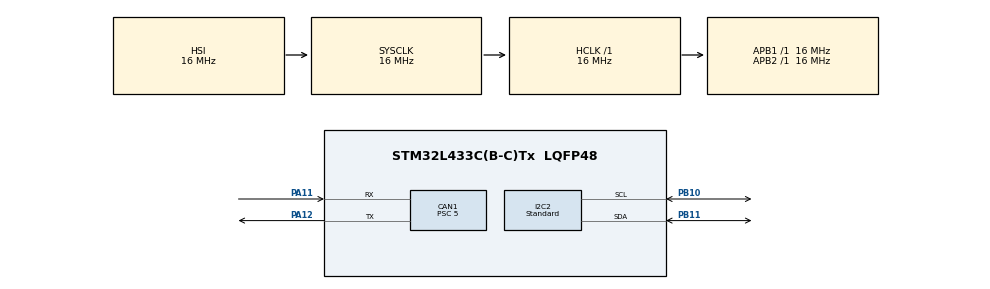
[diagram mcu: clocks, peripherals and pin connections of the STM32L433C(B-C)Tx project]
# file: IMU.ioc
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CAN1.BS1=CAN_BS1_13TQ
CAN1.BS2=CAN_BS2_2TQ
CAN1.CalculateBaudRate=200000
CAN1.CalculateTimeBit=5000
CAN1.CalculateTimeQuantum=312.5
CAN1.Prescaler=5
I2C2.CustomTiming=Disabled
I2C2.I2C_Fall_Time=0
I2C2.I2C_Rise_Time=0
I2C2.I2C_Speed_Mode=I2C_Standard
I2C2.Timing=0x00303D5B
Mcu.Family=STM32L4
Mcu.Name=STM32L433C(B-C)Tx
Mcu.Package=LQFP48
NVIC.PriorityGroup=NVIC_PRIORITYGROUP_4
PA11.Mode=CAN_Activate
PA11.Signal=CAN1_RX
PA12.Mode=CAN_Activate
PA12.Signal=CAN1_TX
PA13\ (JTMS-SWDIO).Mode=Serial_Wire
PA13\ (JTMS-SWDIO).Signal=SYS_JTMS-SWDIO
PA14\ (JTCK-SWCLK).Mode=Serial_Wire
PA14\ (JTCK-SWCLK).Signal=SYS_JTCK-SWCLK
PB10.GPIO_Pu=GPIO_NOPULL
PB10.GPIO_Speed=GPIO_SPEED_FREQ_LOW
PB10.Mode=I2C
PB10.Signal=I2C2_SCL
PB11.GPIO_Pu=GPIO_NOPULL
PB11.GPIO_Speed=GPIO_SPEED_FREQ_LOW
PB11.Mode=I2C
PB11.Signal=I2C2_SDA
PB3\ (JTDO-TRACESWO).Signal=SYS_JTDO-SWO
PH0-OSC_IN\ (PH0).Mode=HSE-External-Oscillator
PH0-OSC_IN\ (PH0).Signal=RCC_OSC_IN
PH1-OSC_OUT\ (PH1).Mode=HSE-External-Oscillator
PH1-OSC_OUT\ (PH1).Signal=RCC_OSC_OUT
ProjectManager.HeapSize=0x200
ProjectManager.StackSize=0x400
ProjectManager.TargetToolchain=STM32CubeIDE
RCC.ADCFreq_Value=16000000
RCC.AHBFreq_Value=16000000
RCC.APB1Freq_Value=16000000
RCC.APB1TimFreq_Value=16000000
RCC.APB2Freq_Value=16000000
RCC.APB2TimFreq_Value=16000000
RCC.CortexFreq_Value=16000000
RCC.HCLKFreq_Value=16000000
RCC.HSE_VALUE=12000000
RCC.HSI48_VALUE=48000000
RCC.HSI_VALUE=16000000
RCC.LSE_VALUE=32768
RCC.MSI_VALUE=4000000
RCC.PLLM=3
RCC.PLLN=40
RCC.PLLSourceVirtual=RCC_PLLSOURCE_HSE
RCC.SYSCLKFreq_VALUE=16000000
RCC.SYSCLKSource=RCC_SYSCLKSOURCE_HSI
RCC.USBFreq_Value=16000000
RCC.VCOOutputFreq_Value=160000000
board=custom

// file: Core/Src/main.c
/* USER CODE BEGIN Header */
/**
  ******************************************************************************
  * @file           : main.c
  * @brief          : Main program body
  ******************************************************************************
  * @attention
  *
  * Copyright (c) 2024 STMicroelectronics.
  * All rights reserved.
  *
  * This software is licensed under terms that can be found in the LICENSE file
  * in the root directory of this software component.
  * If no LICENSE file comes with this software, it is provided AS-IS.
  *
  ******************************************************************************
  */
/* USER CODE END Header */
#include "main.h"

/* USER CODE BEGIN Includes */
#include "imu.h"
/* USER CODE END Includes */

/* USER CODE BEGIN PD */
#define POLLING_RATE 1000
#define CANARY_ID 0x00
/* USER CODE END PD */

CAN_HandleTypeDef hcan1;

I2C_HandleTypeDef hi2c2;

/* USER CODE BEGIN PV */
IMU sensor;
/* USER CODE END PV */

void SystemClock_Config(void);
static void MX_GPIO_Init(void);
static void MX_I2C2_Init(void);
static void MX_CAN1_Init(void);

/* USER CODE BEGIN 0 */
CAN_TxHeaderTypeDef TxHeader;
CAN_RxHeaderTypeDef RxHeader;

uint8_t TxData[8];
uint8_t RxData[8];
uint32_t TxMailbox;

/* USER CODE END 0 */

int main(void)
{

  /* MCU Configuration--------------------------------------------------------*/

  /* Reset of all peripherals, Initializes the Flash interface and the Systick. */
  HAL_Init();

  /* Configure the system clock */
  SystemClock_Config();

  /* Initialize all configured peripherals */
  MX_GPIO_Init();
  MX_I2C2_Init();
  MX_CAN1_Init();
  /* USER CODE BEGIN 2 */

  IMU_Initialize( &sensor, &hi2c2);
  HAL_CAN_Start(&hcan1);

  HAL_CAN_ActivateNotification(&hcan1, CAN_IT_RX_FIFO0_MSG_PENDING);

  TxHeader.IDE = CAN_ID_STD; //Standard ID, EXT for extended?
  TxHeader.DLC = 8;
  TxHeader.StdId = 0x100; //change?
  TxHeader.RTR = CAN_RTR_DATA;

  /* USER CODE END 2 */

  /* Infinite loop */
  /* USER CODE BEGIN WHILE */
  while (1)
  {
	// get data from IMU
	IMU_ReadAccelerometer( &sensor );
	IMU_ReadGyroscope( &sensor );
	IMU_ReadTemperature( &sensor );
	IMU_ReadMagnetometer( &sensor );

	for (int i = 0; i<6; i++){
		TxData[i] = sensor.acc[i];
	}

	TxData[6] = sensor.temp;
	TxData[7] = 0;
	TxHeader.StdId = 0x100;
	HAL_CAN_AddTxMessage(&hcan1, &TxHeader, TxData, &TxMailbox); //acceleration data and temperature

	for (int i = 0; i<6; i++){
		TxData[i] = sensor.gyr[i];
	}
	TxData[6] = 0;
	TxData[7] = 0;
	TxHeader.StdId = 0x101;
	HAL_CAN_AddTxMessage(&hcan1, &TxHeader, TxData, &TxMailbox); //gyroscope data

	for (int i = 0; i<6; i++){
		TxData[i] = sensor.mag[i];
	}
	TxData[6] = 0;
	TxData[7] = 0;
	TxHeader.StdId = 0x102;
	HAL_CAN_AddTxMessage(&hcan1, &TxHeader, TxData, &TxMailbox); //magnetometer data

	HAL_Delay((float)1000/(float)POLLING_RATE);

    /* USER CODE END WHILE */

  }
}

void SystemClock_Config(void)
{
  RCC_OscInitTypeDef RCC_OscInitStruct = {0};
  RCC_ClkInitTypeDef RCC_ClkInitStruct = {0};

  /** Configure the main internal regulator output voltage
  */
  if (HAL_PWREx_ControlVoltageScaling(PWR_REGULATOR_VOLTAGE_SCALE1) != HAL_OK)
  {
    Error_Handler();
  }

  /** Initializes the RCC Oscillators according to the specified parameters
  * in the RCC_OscInitTypeDef structure.
  */
  RCC_OscInitStruct.OscillatorType = RCC_OSCILLATORTYPE_HSI;
  RCC_OscInitStruct.HSIState = RCC_HSI_ON;
  RCC_OscInitStruct.HSICalibrationValue = RCC_HSICALIBRATION_DEFAULT;
  RCC_OscInitStruct.PLL.PLLState = RCC_PLL_NONE;
  if (HAL_RCC_OscConfig(&RCC_OscInitStruct) != HAL_OK)
  {
    Error_Handler();
  }

  /** Initializes the CPU, AHB and APB buses clocks
  */
  RCC_ClkInitStruct.ClockType = RCC_CLOCKTYPE_HCLK|RCC_CLOCKTYPE_SYSCLK
                              |RCC_CLOCKTYPE_PCLK1|RCC_CLOCKTYPE_PCLK2;
  RCC_ClkInitStruct.SYSCLKSource = RCC_SYSCLKSOURCE_HSI;
  RCC_ClkInitStruct.AHBCLKDivider = RCC_SYSCLK_DIV1;
  RCC_ClkInitStruct.APB1CLKDivider = RCC_HCLK_DIV1;
  RCC_ClkInitStruct.APB2CLKDivider = RCC_HCLK_DIV1;

  if (HAL_RCC_ClockConfig(&RCC_ClkInitStruct, FLASH_LATENCY_0) != HAL_OK)
  {
    Error_Handler();
  }
}

static void MX_CAN1_Init(void)
{

  hcan1.Instance = CAN1;
  hcan1.Init.Prescaler = 5;
  hcan1.Init.Mode = CAN_MODE_NORMAL;
  hcan1.Init.SyncJumpWidth = CAN_SJW_1TQ;
  hcan1.Init.TimeSeg1 = CAN_BS1_13TQ;
  hcan1.Init.TimeSeg2 = CAN_BS2_2TQ;
  hcan1.Init.TimeTriggeredMode = DISABLE;
  hcan1.Init.AutoBusOff = DISABLE;
  hcan1.Init.AutoWakeUp = DISABLE;
  hcan1.Init.AutoRetransmission = DISABLE;
  hcan1.Init.ReceiveFifoLocked = DISABLE;
  hcan1.Init.TransmitFifoPriority = DISABLE;
  if (HAL_CAN_Init(&hcan1) != HAL_OK)
  {
    Error_Handler();
  }
  /* USER CODE BEGIN CAN1_Init 2 */

  CAN_FilterTypeDef canfilterconfig;

  canfilterconfig.FilterActivation = CAN_FILTER_ENABLE;
  canfilterconfig.FilterBank = 0;
  canfilterconfig.FilterFIFOAssignment = CAN_FILTER_FIFO0;
  canfilterconfig.FilterIdHigh = CANARY_ID;
  canfilterconfig.FilterMaskIdHigh = 0xFFFFFFFF;

  HAL_CAN_ConfigFilter(&hcan1, &canfilterconfig);

  /* USER CODE END CAN1_Init 2 */

}

static void MX_I2C2_Init(void)
{

  hi2c2.Instance = I2C2;
  hi2c2.Init.Timing = 0x00303D5B;
  hi2c2.Init.OwnAddress1 = 0;
  hi2c2.Init.AddressingMode = I2C_ADDRESSINGMODE_7BIT;
  hi2c2.Init.DualAddressMode = I2C_DUALADDRESS_DISABLE;
  hi2c2.Init.OwnAddress2 = 0;
  hi2c2.Init.OwnAddress2Masks = I2C_OA2_NOMASK;
  hi2c2.Init.GeneralCallMode = I2C_GENERALCALL_DISABLE;
  hi2c2.Init.NoStretchMode = I2C_NOSTRETCH_DISABLE;
  if (HAL_I2C_Init(&hi2c2) != HAL_OK)
  {
    Error_Handler();
  }

  /** Configure Analogue filter
  */
  if (HAL_I2CEx_ConfigAnalogFilter(&hi2c2, I2C_ANALOGFILTER_ENABLE) != HAL_OK)
  {
    Error_Handler();
  }

  /** Configure Digital filter
  */
  if (HAL_I2CEx_ConfigDigitalFilter(&hi2c2, 0) != HAL_OK)
  {
    Error_Handler();
  }

}

static void MX_GPIO_Init(void)
{

  /* GPIO Ports Clock Enable */
  __HAL_RCC_GPIOH_CLK_ENABLE();
  __HAL_RCC_GPIOB_CLK_ENABLE();
  __HAL_RCC_GPIOA_CLK_ENABLE();

}

void Error_Handler(void)
{
  __disable_irq();
  while (1)
  {
  }
}
